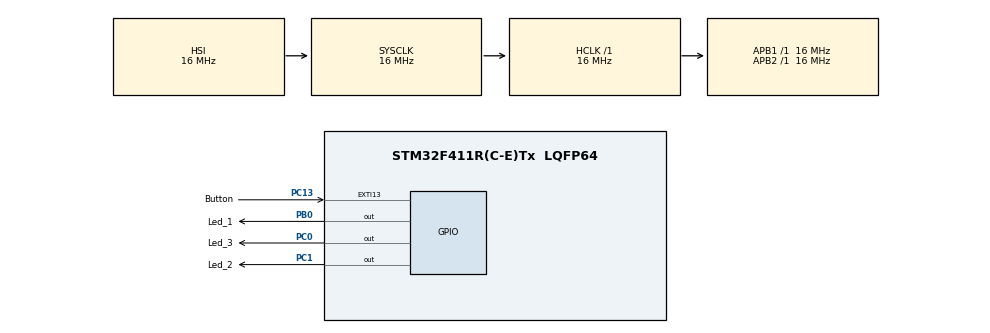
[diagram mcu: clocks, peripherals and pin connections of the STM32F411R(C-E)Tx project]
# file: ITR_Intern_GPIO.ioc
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Mcu.Family=STM32F4
Mcu.Name=STM32F411R(C-E)Tx
Mcu.Package=LQFP64
NVIC.EXTI15_10_IRQn=true\:0\:0\:false\:false\:true\:true\:true\:true
NVIC.PriorityGroup=NVIC_PRIORITYGROUP_4
NVIC.TIM2_IRQn=true\:0\:0\:false\:false\:true\:true\:true\:true
PA13.Mode=Serial_Wire
PA13.Signal=SYS_JTMS-SWDIO
PA14.Mode=Serial_Wire
PA14.Signal=SYS_JTCK-SWCLK
PB0.GPIO_Label=Led_1
PB0.PinState=GPIO_PIN_SET
PB0.Signal=GPIO_Output
PC0.GPIO_Label=Led_3
PC0.PinState=GPIO_PIN_SET
PC0.Signal=GPIO_Output
PC1.GPIO_Label=Led_2
PC1.PinState=GPIO_PIN_SET
PC1.Signal=GPIO_Output
PC13-ANTI_TAMP.GPIO_Label=Button
PC13-ANTI_TAMP.GPIO_ModeDefaultEXTI=GPIO_MODE_IT_FALLING
PC13-ANTI_TAMP.GPIO_PuPd=GPIO_NOPULL
PC13-ANTI_TAMP.Signal=GPXTI13
ProjectManager.HeapSize=0x200
ProjectManager.StackSize=0x400
ProjectManager.TargetToolchain=STM32CubeIDE
RCC.AHBFreq_Value=16000000
RCC.APB1Freq_Value=16000000
RCC.APB2Freq_Value=16000000
RCC.CortexFreq_Value=16000000
RCC.HSE_VALUE=25000000
RCC.HSI_VALUE=16000000
RCC.LSE_VALUE=32768
RCC.SYSCLKFreq_VALUE=16000000
RCC.VCOOutputFreq_Value=192000000
TIM2.Period=1000-1
TIM2.Prescaler=16-1
VP_TIM2_VS_ClockSourceINT.Mode=Internal
board=custom

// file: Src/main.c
/* USER CODE BEGIN Header */
/**
  ******************************************************************************
  * @file           : main.c
  * @brief          : Main program body
  ******************************************************************************
  * @attention
  *
  * Copyright (c) 2023 STMicroelectronics.
  * All rights reserved.
  *
  * This software is licensed under terms that can be found in the LICENSE file
  * in the root directory of this software component.
  * If no LICENSE file comes with this software, it is provided AS-IS.
  *
  ******************************************************************************
  */
/* USER CODE END Header */
#include "main.h"

/* USER CODE BEGIN PTD */

typedef enum {

  LED_OFF ,
  LED_1   ,
  LED_2   ,
  LED_3   ,

} LED_STATE;

typedef struct {

  uint32_t press_time ;
  LED_STATE what_led ;
  uint8_t is_press ;
  uint8_t state ;

} Button_State ;

/* USER CODE END PTD */

/* USER CODE BEGIN PD */
#define HOLD_TIME 3000
#define DEBOUNCE_TIME 50

/* USER CODE END PD */

TIM_HandleTypeDef htim2;

/* USER CODE BEGIN PV */

uint32_t last_time =0 ;

uint32_t hold_time = 0 ;

uint8_t buttonstate ;

Button_State button = {
  .press_time = 0 ,
  .what_led   = 0 ,
  .is_press   = 1 ,
  .state      = 0 ,
} ;

/* USER CODE END PV */

void SystemClock_Config(void);
static void MX_GPIO_Init(void);
static void MX_TIM2_Init(void);

/* USER CODE BEGIN 0 */

void HAL_TIM_PeriodElapsedCallback(TIM_HandleTypeDef *htim)
{
	if(htim->Instance == TIM2)
	{
		button.press_time += 1 ;
		hold_time += 1 ;
	}
}

void HAL_GPIO_EXTI_Callback(uint16_t GPIO_Pin)
{

//  HAL_GPIO_WritePin(Led_1_GPIO_Port, Led_1_Pin, 0);
  if (button.press_time - last_time >= DEBOUNCE_TIME)
  {
	  hold_time = 0;

	  buttonstate = HAL_GPIO_ReadPin(GPIOC, Button_Pin) ;

	  if( buttonstate != button.is_press)
	  {
		  button.is_press = buttonstate;

		  if( button.is_press == 0 )
		  {
			  button.state = (button.state >= LED_3) ? LED_1 : button.state+1 ;
		  }
	  }
  }
  last_time = button.press_time;
  button.is_press = 1  ;
}
/* USER CODE END 0 */

int main(void)
{

  /* MCU Configuration--------------------------------------------------------*/

  /* Reset of all peripherals, Initializes the Flash interface and the Systick. */
  HAL_Init();

  /* Configure the system clock */
  SystemClock_Config();

  /* Initialize all configured peripherals */
  MX_GPIO_Init();
  MX_TIM2_Init();
  /* USER CODE BEGIN 2 */

  //HAL_TIM_Base_Init(&htim2);
  HAL_TIM_Base_Start_IT(&htim2);

  HAL_GPIO_WritePin(GPIOC, Led_3_Pin|Led_2_Pin, GPIO_PIN_SET);
  HAL_GPIO_WritePin(Led_1_GPIO_Port, Led_1_Pin, GPIO_PIN_SET);
  /* USER CODE END 2 */

  /* Infinite loop */
  while (1)
  {

    /* USER CODE BEGIN 3 */

	  if(button.state == LED_1 && HAL_GPIO_ReadPin(GPIOC, Button_Pin)==1)
	  {
		  HAL_GPIO_WritePin(Led_1_GPIO_Port, Led_1_Pin, GPIO_PIN_RESET);
		  HAL_GPIO_WritePin(GPIOC, Led_3_Pin|Led_2_Pin, GPIO_PIN_SET);

	  }
	  else if (button.state == LED_2 && HAL_GPIO_ReadPin(GPIOC, Button_Pin)==1)
	  {
		  HAL_GPIO_WritePin(Led_2_GPIO_Port, Led_2_Pin, GPIO_PIN_RESET);
		  HAL_GPIO_WritePin(GPIOC, Led_3_Pin, GPIO_PIN_SET);
		  HAL_GPIO_WritePin(Led_1_GPIO_Port, Led_1_Pin, GPIO_PIN_SET);
	  }
	  else if (HAL_GPIO_ReadPin(GPIOC, Button_Pin)==1 && button.state == LED_3)
	  {
		  HAL_GPIO_WritePin(Led_3_GPIO_Port, Led_3_Pin, GPIO_PIN_RESET);
		  HAL_GPIO_WritePin(GPIOC, Led_2_Pin, GPIO_PIN_SET);
		  HAL_GPIO_WritePin(Led_1_GPIO_Port, Led_1_Pin, GPIO_PIN_SET);
	  }
	  if (HAL_GPIO_ReadPin(GPIOC, Button_Pin)==0 && hold_time >= HOLD_TIME)
	  {
		  HAL_GPIO_WritePin(GPIOC, Led_3_Pin|Led_2_Pin, GPIO_PIN_SET);
		  HAL_GPIO_WritePin(Led_1_GPIO_Port, Led_1_Pin, GPIO_PIN_SET);
		  button.state = LED_OFF ;
	  }

  }
  /* USER CODE END 3 */
}

void SystemClock_Config(void)
{
  RCC_OscInitTypeDef RCC_OscInitStruct = {0};
  RCC_ClkInitTypeDef RCC_ClkInitStruct = {0};

  /** Configure the main internal regulator output voltage
  */
  __HAL_RCC_PWR_CLK_ENABLE();
  __HAL_PWR_VOLTAGESCALING_CONFIG(PWR_REGULATOR_VOLTAGE_SCALE1);

  /** Initializes the RCC Oscillators according to the specified parameters
  * in the RCC_OscInitTypeDef structure.
  */
  RCC_OscInitStruct.OscillatorType = RCC_OSCILLATORTYPE_HSI;
  RCC_OscInitStruct.HSIState = RCC_HSI_ON;
  RCC_OscInitStruct.HSICalibrationValue = RCC_HSICALIBRATION_DEFAULT;
  RCC_OscInitStruct.PLL.PLLState = RCC_PLL_NONE;
  if (HAL_RCC_OscConfig(&RCC_OscInitStruct) != HAL_OK)
  {
    Error_Handler();
  }

  /** Initializes the CPU, AHB and APB buses clocks
  */
  RCC_ClkInitStruct.ClockType = RCC_CLOCKTYPE_HCLK|RCC_CLOCKTYPE_SYSCLK
                              |RCC_CLOCKTYPE_PCLK1|RCC_CLOCKTYPE_PCLK2;
  RCC_ClkInitStruct.SYSCLKSource = RCC_SYSCLKSOURCE_HSI;
  RCC_ClkInitStruct.AHBCLKDivider = RCC_SYSCLK_DIV1;
  RCC_ClkInitStruct.APB1CLKDivider = RCC_HCLK_DIV1;
  RCC_ClkInitStruct.APB2CLKDivider = RCC_HCLK_DIV1;

  if (HAL_RCC_ClockConfig(&RCC_ClkInitStruct, FLASH_LATENCY_0) != HAL_OK)
  {
    Error_Handler();
  }
}

static void MX_TIM2_Init(void)
{

  TIM_ClockConfigTypeDef sClockSourceConfig = {0};
  TIM_MasterConfigTypeDef sMasterConfig = {0};

  htim2.Instance = TIM2;
  htim2.Init.Prescaler = 16-1;
  htim2.Init.CounterMode = TIM_COUNTERMODE_UP;
  htim2.Init.Period = 1000-1;
  htim2.Init.ClockDivision = TIM_CLOCKDIVISION_DIV1;
  htim2.Init.AutoReloadPreload = TIM_AUTORELOAD_PRELOAD_DISABLE;
  if (HAL_TIM_Base_Init(&htim2) != HAL_OK)
  {
    Error_Handler();
  }
  sClockSourceConfig.ClockSource = TIM_CLOCKSOURCE_INTERNAL;
  if (HAL_TIM_ConfigClockSource(&htim2, &sClockSourceConfig) != HAL_OK)
  {
    Error_Handler();
  }
  sMasterConfig.MasterOutputTrigger = TIM_TRGO_RESET;
  sMasterConfig.MasterSlaveMode = TIM_MASTERSLAVEMODE_DISABLE;
  if (HAL_TIMEx_MasterConfigSynchronization(&htim2, &sMasterConfig) != HAL_OK)
  {
    Error_Handler();
  }

}

static void MX_GPIO_Init(void)
{
  GPIO_InitTypeDef GPIO_InitStruct = {0};

  /* GPIO Ports Clock Enable */
  __HAL_RCC_GPIOC_CLK_ENABLE();
  __HAL_RCC_GPIOB_CLK_ENABLE();
  __HAL_RCC_GPIOA_CLK_ENABLE();

  /*Configure GPIO pin Output Level */
  HAL_GPIO_WritePin(GPIOC, Led_3_Pin|Led_2_Pin, GPIO_PIN_SET);

  /*Configure GPIO pin Output Level */
  HAL_GPIO_WritePin(Led_1_GPIO_Port, Led_1_Pin, GPIO_PIN_SET);

  /*Configure GPIO pin : Button_Pin */
  GPIO_InitStruct.Pin = Button_Pin;
  GPIO_InitStruct.Mode = GPIO_MODE_IT_FALLING;
  GPIO_InitStruct.Pull = GPIO_NOPULL;
  HAL_GPIO_Init(Button_GPIO_Port, &GPIO_InitStruct);

  /*Configure GPIO pins : Led_3_Pin Led_2_Pin */
  GPIO_InitStruct.Pin = Led_3_Pin|Led_2_Pin;
  GPIO_InitStruct.Mode = GPIO_MODE_OUTPUT_PP;
  GPIO_InitStruct.Pull = GPIO_NOPULL;
  GPIO_InitStruct.Speed = GPIO_SPEED_FREQ_LOW;
  HAL_GPIO_Init(GPIOC, &GPIO_InitStruct);

  /*Configure GPIO pin : Led_1_Pin */
  GPIO_InitStruct.Pin = Led_1_Pin;
  GPIO_InitStruct.Mode = GPIO_MODE_OUTPUT_PP;
  GPIO_InitStruct.Pull = GPIO_NOPULL;
  GPIO_InitStruct.Speed = GPIO_SPEED_FREQ_LOW;
  HAL_GPIO_Init(Led_1_GPIO_Port, &GPIO_InitStruct);

  /* EXTI interrupt init*/
  HAL_NVIC_SetPriority(EXTI15_10_IRQn, 0, 0);
  HAL_NVIC_EnableIRQ(EXTI15_10_IRQn);

}

void Error_Handler(void)
{
  __disable_irq();
  while (1)
  {
  }
}
